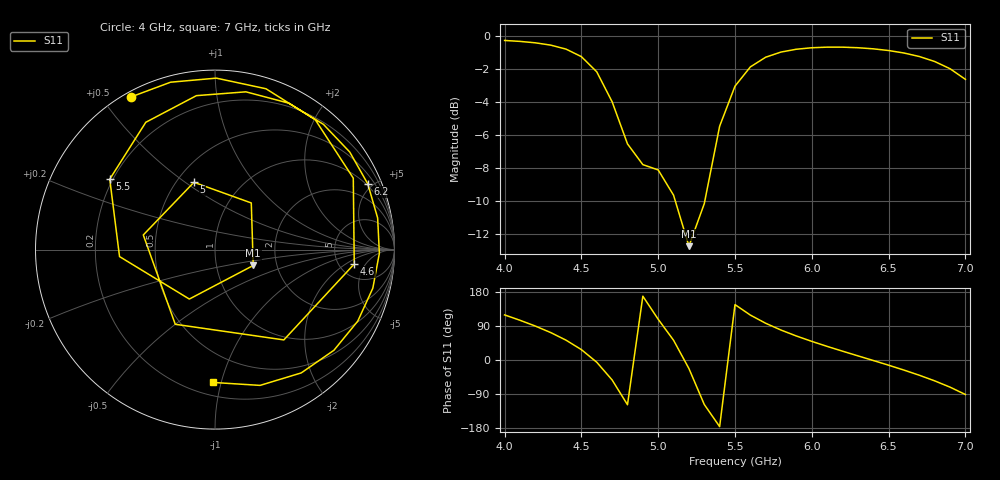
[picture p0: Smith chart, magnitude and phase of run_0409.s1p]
! Touchstone file exported from HFSS 2024.2.0
!  File:  C:/Users/wsak9/Desktop/Sim Fast/Widenad Patch/WP_AI_V1_sweep.aedt
!  Generated:  08:38:54 AM Oct 14, 2026
!  Design:  A1_model
!  Project:  WP_AI_V1_sweep
!  Setup:  Setup1
!  Solution:  Sweep
! Variables:
!  Air_gap = 2.35mm
!  Curve_Amp1 = 2.62
!  Curve_len1 = 1
!  Curve_pos = 11.17mm
!  Extra = 2.94mm
!  H_sub = 0.79mm
!  L_Patch = 18.34mm
!  L_Patch1 = 13.06mm
!  Sx = 3.39mm
!  Sy = 2.53mm
!  WS = 0.55mm
!  W_Patch = 17.58mm
!  W_Patch1 = 10.12mm
!Data is not renormalized
# GHz S MA
! Terminal data exported
! Port[1] = 1
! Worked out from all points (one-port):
!   31 points, 4 GHz to 7 GHz, reference per port
!   lowest |S11| = -12.7 dB at 5.2 GHz (marker M1), VSWR 1.60
!   |S11| at or under -10 dB: 5.111 GHz to 5.303 GHz (192.1 MHz wide, 3.69 % of centre)
!   S11 on the Smith chart (normalised r, x): 4 GHz: 0.02, +0.59; 4.6 GHz: 6.91, -2.83; 5 GHz: 0.61, +0.54; 5.5 GHz: 0.19, +0.29; 6.2 GHz: 0.90, +4.68; 7 GHz: 0.29, -0.94
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4  0.9712 119.0
4.1  0.9649 104.8
4.2  0.9553 89.6
4.3  0.94 72.4
4.4  0.9141 52.3
4.5  0.8673 27.3
4.6  0.7799 -5.9
4.7  0.6327 -52.7
4.8  0.4714 -118.0
4.9  0.4077 168.5
5  0.3929 107.4
5.1  0.3293 52.1
5.2  0.2306 -22.6
5.3  0.3104 -117.4
5.4  0.5333 -175.8
5.5  0.7057 146.2
5.6  0.8073 118.5
5.7  0.864 96.9
5.8  0.8957 78.9
5.9  0.9135 63.3
6  0.9229 49.1
6.2  0.9267 23.3
6.3  0.9231 11.0
6.5  0.9052 -13.7
6.7  0.8681 -40.2
6.8  0.8384 -55.0
6.9  0.7971 -71.6
7  0.7401 -91.0
